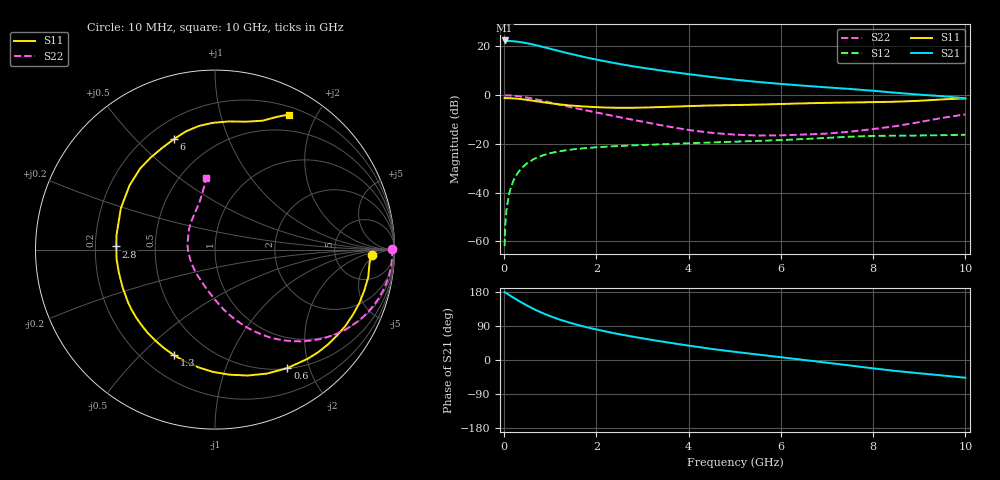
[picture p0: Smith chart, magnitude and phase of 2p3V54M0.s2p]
! (c) 2009  Infineon Technologies AG, Munich
! Infineon Technologies  Discrete & RF Semiconductors
! BFP420
! VCE =  3.5 V,  IC =  4.0 mA
! Common Emitter S-Parameters:  Nov 2009
# GHz  S  MA  R  50
!  f  S11  S21  S12  S22
! GHz  MAG  ANG  MAG  ANG  MAG  ANG  MAG  ANG
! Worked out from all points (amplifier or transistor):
!   46 points, 10 MHz to 10 GHz, reference 50 ohm
!   highest |S21| = 22.4 dB at 10 MHz (marker M1)
!   |S21| within 3 dB of that: start of sweep to 915.6 MHz
!   unconditionally stable (mu >= 1): 3.258 GHz to end of sweep
!   at 300 MHz: K = 0.09, MSG = 26.9 dB, |S12| = -31.8 dB
!   at 1.7 GHz: K = 0.51, MSG = 18.8 dB, |S12| = -21.9 dB
!   at 10 GHz: K = 1.14, MAG = 5.2 dB, |S12| = -16.2 dB
!   lowest NFmin = 0.61 dB at 900 MHz
!   S11 on the Smith chart (normalised r, x): 10 MHz: 14, -3; 600 MHz: 0.51, -1.67; 1.3 GHz: 0.32, -0.63; 2.8 GHz: 0.29, +0.01; 6 GHz: 0.30, +0.65; 10 GHz: 0.29, +1.65
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0.01  0.8745 -1.9  13.21 179.1  0.0008 68.4  0.9859 0.2
0.02  0.8704 -2.2  12.87 178.5  0.0019 76.8  0.9882 -1.1
0.1  0.8675 -10.2  12.91 172.3  0.0088 82.1  0.9853 -5.7
0.2  0.8576 -20.4  12.74 164.7  0.0175 77.9  0.9718 -11.3
0.3  0.8417 -30.4  12.43 157.3  0.0256 73.3  0.9506 -16.8
0.45  0.8104 -44.9  11.79 146.9  0.0368 66.2  0.9066 -24.4
0.6  0.7734 -58.6  11.04 137.1  0.0463 59.7  0.8533 -31.5
0.7  0.7489 -67.3  10.51 131.1  0.0518 55.8  0.8154 -35.7
0.9  0.7015 -83.4  9.429 120.4  0.0607 49.0  0.7409 -43.1
1.1  0.6627 -97.9  8.437 111.2  0.0677 43.6  0.6713 -49.5
1.3  0.6313 -111.2  7.565 103.0  0.0731 39.0  0.6081 -55.2
1.5  0.6065 -123.1  6.812 95.8  0.0774 35.2  0.5521 -60.1
1.7  0.5873 -134.1  6.169 89.3  0.0808 32.0  0.5031 -64.5
2.2  0.5563 -157.7  4.917 75.3  0.0876 25.9  0.4035 -74.1
2.8  0.5504 178.2  3.896 61.4  0.0932 20.6  0.3107 -85.2
3.5  0.5731 156.1  3.105 47.2  0.0988 16.1  0.2317 -100.0
4.5  0.6147 132.9  2.353 29.2  0.1071 10.9  0.1686 -128.6
5.5  0.6388 117.3  1.863 14.4  0.1151 6.6  0.1486 -158.9
6  0.6575 110.2  1.695 7.3  0.1198 4.8  0.1494 -175.2
7  0.6946 97.5  1.441 -7.2  0.1331 -0.3  0.1627 157.6
8.5  0.7331 76.4  1.116 -29.0  0.1476 -12.7  0.2317 119.1
10  0.8579 61.3  0.862 -46.8  0.1541 -20.8  0.402 96.8
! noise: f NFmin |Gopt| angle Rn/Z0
0.9  0.61  0.27  32  0.16
1.8  1.03  0.14  83  0.13
2.4  1.11  0.17  110  0.14
3  1.23  0.2  153  0.11
4  1.42  0.31  -151  0.11
5  1.77  0.38  -123  0.23
6  2.35  0.47  -104  0.33
